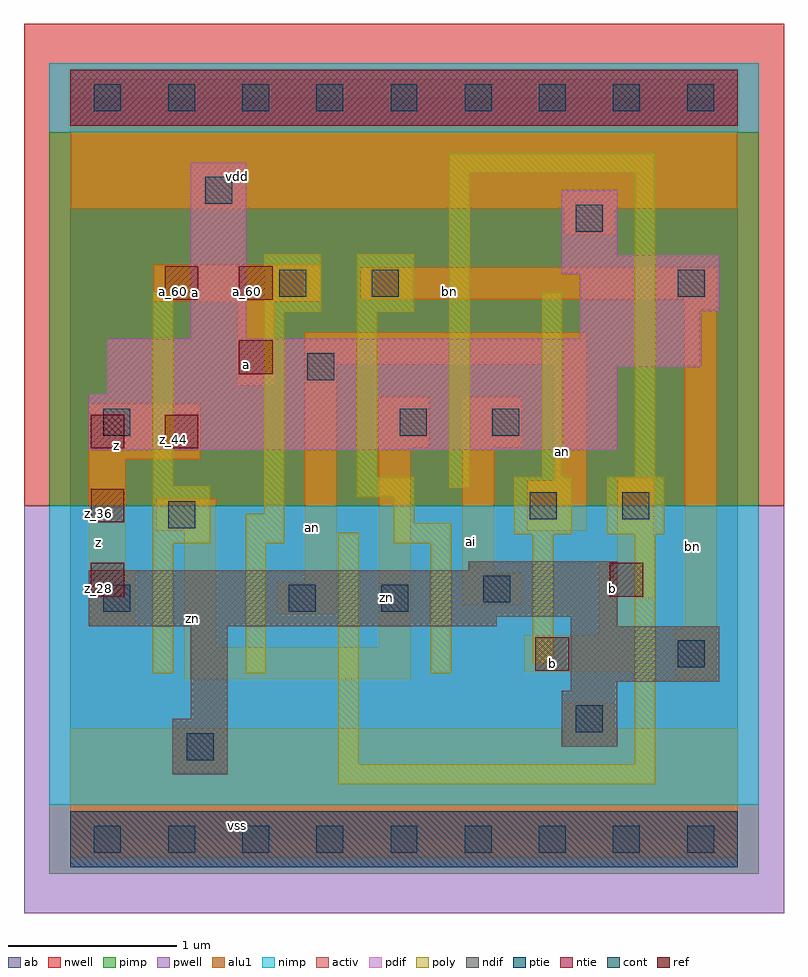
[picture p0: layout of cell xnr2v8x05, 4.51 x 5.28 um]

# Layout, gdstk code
import gdstk
lib = gdstk.Library(unit=1e-6, precision=2.5e-09)
def R(c, l, rs):  # rectangles x0, y0, x1, y1
    for r in rs: c.add(gdstk.rectangle(r[:2], r[2:], *l))
def A(c, l, x, y, w, h, nx, ny, dx, dy):  # array of equal rectangles
    R(c, l, [(x+i*dx, y+j*dy, x+i*dx+w, y+j*dy+h) for i in range(nx) for j in range(ny)])
ndif = (3, 0)
pdif = (4, 0)
ntie = (5, 0)
ptie = (6, 0)
ref = (24, 0)
cont = (25, 0)
pwell = (41, 0)
nwell = (42, 0)
activ = (43, 0)
pimp = (44, 0)
nimp = (45, 0)
poly = (46, 0)
alu1 = (49, 0)
ab = (63, 0)

xnr2v8x05 = lib.new_cell('xnr2v8x05')
R(xnr2v8x05, ndif, [(0.605,0.385,0.935,0.715), (2.915,0.55,3.245,0.88), (0.715,0.715,0.935,1.265), (2.97,0.88,3.245,0.935), (2.97,0.935,3.85,1.265), (0.11,1.265,2.53,1.32), (2.97,1.265,3.245,1.32), (0.11,1.32,3.245,1.595), (2.365,1.595,3.245,1.65)])
R(xnr2v8x05, pdif, [(0.11,2.31,3.245,2.64), (0.22,2.64,3.245,2.805), (0.22,2.805,3.74,2.97), (0.715,2.97,1.045,4.015), (3.025,2.97,3.74,3.135), (3.025,3.135,3.85,3.355), (2.915,3.355,3.85,3.465), (2.915,3.465,3.245,3.85)])
R(xnr2v8x05, ntie, [(0,4.235,3.96,4.565)])
R(xnr2v8x05, ptie, [(0,-0.165,3.96,0.165)])
A(xnr2v8x05, ref, 0.12, 1.44, 0.2, 0.2, 1, 3, 0, 0.44)
R(xnr2v8x05, ref, [(2.76,1,2.96,1.2), (3.2,1.44,3.4,1.64), (0.56,2.32,0.76,2.52), (1,2.76,1.2,2.96), (0.56,3.2,0.76,3.4), (1,3.2,1.2,3.4)])
A(xnr2v8x05, cont, 0.14, -0.08, 0.16, 0.16, 9, 2, 0.44, 4.4)
R(xnr2v8x05, cont, [(0.69,0.47,0.85,0.63), (3,0.635,3.16,0.795), (3.605,1.02,3.765,1.18), (0.195,1.35,0.355,1.51), (1.295,1.35,1.455,1.51), (1.845,1.35,2.005,1.51), (2.45,1.405,2.61,1.565), (0.58,1.845,0.74,2.005), (2.725,1.9,2.885,2.06), (3.275,1.9,3.435,2.06), (0.195,2.395,0.355,2.555), (1.955,2.395,2.115,2.555), (2.505,2.395,2.665,2.555), (1.405,2.725,1.565,2.885), (1.24,3.22,1.4,3.38), (1.79,3.22,1.95,3.38), (3.605,3.22,3.765,3.38), (3,3.605,3.16,3.765), (0.8,3.77,0.96,3.93)])
R(xnr2v8x05, pwell, [(-0.275,-0.44,4.235,1.98)])
R(xnr2v8x05, nwell, [(-0.275,1.98,4.235,4.84)])
R(xnr2v8x05, activ, [(0,-0.165,3.96,0.165), (0.605,0.385,0.935,0.715), (2.915,0.55,3.245,0.88), (0.715,0.715,0.935,1.265), (2.97,0.88,3.245,0.935), (2.97,0.935,3.85,1.265), (0.11,1.265,2.53,1.32), (2.97,1.265,3.245,1.32), (0.11,1.32,3.245,1.595), (2.365,1.595,3.245,1.65), (0.11,2.31,3.245,2.64), (0.22,2.64,3.245,2.805), (0.22,2.805,3.74,2.97), (0.715,2.97,1.045,4.015), (3.025,2.97,3.74,3.135), (3.025,3.135,3.85,3.355), (2.915,3.355,3.85,3.465), (2.915,3.465,3.245,3.85), (0,4.235,3.96,4.565)])
R(xnr2v8x05, pimp, [(-0.125,-0.205,4.085,0.205), (-0.125,1.98,4.085,4.195)])
R(xnr2v8x05, nimp, [(-0.125,0.205,4.085,1.98), (-0.125,4.195,4.085,4.605)])
R(xnr2v8x05, poly, [(1.59,0.325,3.47,0.445), (1.59,0.445,1.71,1.82), (3.35,0.445,3.47,1.81), (0.49,0.985,0.61,1.755), (1.04,0.985,1.16,1.755), (2.14,0.985,2.26,1.755), (2.745,1.04,2.865,1.81), (0.49,1.755,0.83,2.095), (1.04,1.755,1.27,1.93), (1.92,1.755,2.26,1.875), (2.635,1.81,2.975,2.15), (3.185,1.81,3.525,2.15), (1.92,1.875,2.04,2.03), (1.15,1.93,1.27,3.13), (1.7,2.03,2.04,2.15), (2.25,2.085,2.37,3.955), (0.49,2.095,0.61,3.25), (1.7,2.15,1.82,3.13), (2.8,2.15,2.92,3.25), (3.35,2.15,3.47,3.955), (1.15,3.13,1.49,3.47), (1.7,3.13,2.04,3.47), (2.25,3.955,3.47,4.075)])
R(xnr2v8x05, alu1, [(0,-0.11,3.96,0.66), (2.93,0.66,3.23,0.81), (0.675,0.95,2.02,1.14), (3.59,0.95,3.835,1.25), (2.695,0.99,3.355,1.21), (0.675,1.14,0.865,1.83), (1.83,1.14,2.02,2.325), (3.135,1.21,3.355,1.43), (3.645,1.25,3.835,3.205), (0.11,1.265,0.385,1.595), (1.225,1.335,1.58,1.525), (2.325,1.39,2.68,1.58), (3.135,1.43,3.465,1.65), (1.39,1.525,1.58,2.82), (2.325,1.58,2.515,2.325), (0.11,1.595,0.33,2.255), (3.245,1.65,3.465,2.145), (0.51,1.83,0.865,2.02), (2.71,1.83,3.065,2.13), (2.875,2.13,3.065,2.82), (0.11,2.255,0.77,2.585), (1.83,2.325,2.13,2.625), (2.325,2.325,2.68,2.625), (0.99,2.695,1.21,3.19), (1.39,2.82,3.065,3.01), (0.495,3.19,1.485,3.41), (1.72,3.205,3.835,3.395), (2.93,3.59,3.23,3.74), (0,3.74,3.96,4.51)])
R(xnr2v8x05, ab, [(0,0,3.96,4.4)])
xnr2v8x05.add(gdstk.Label('vss', (0.99,0.0825), layer=49, texttype=0))
xnr2v8x05.add(gdstk.Label('b', (2.86,1.045), layer=49, texttype=0))
xnr2v8x05.add(gdstk.Label('bn', (3.6925,1.7375), layer=49, texttype=0))
xnr2v8x05.add(gdstk.Label('b', (3.2175,1.485), layer=49, texttype=0))
xnr2v8x05.add(gdstk.Label('an', (2.9225,2.3025), layer=49, texttype=0))
xnr2v8x05.add(gdstk.Label('ai', (2.3725,1.765), layer=49, texttype=0))
xnr2v8x05.add(gdstk.Label('zn', (1.8775,1.435), layer=49, texttype=0))
xnr2v8x05.add(gdstk.Label('an', (1.4375,1.8475), layer=49, texttype=0))
xnr2v8x05.add(gdstk.Label('zn', (0.7225,1.3125), layer=49, texttype=0))
xnr2v8x05.add(gdstk.Label('z', (0.165,1.76), layer=49, texttype=0))
xnr2v8x05.add(gdstk.Label('z', (0.275,2.3375), layer=49, texttype=0))
xnr2v8x05.add(gdstk.Label('a', (1.045,2.8175), layer=49, texttype=0))
xnr2v8x05.add(gdstk.Label('bn', (2.2475,3.2525), layer=49, texttype=0))
xnr2v8x05.add(gdstk.Label('a', (0.7425,3.245), layer=49, texttype=0))
xnr2v8x05.add(gdstk.Label('vdd', (0.99,3.9325), layer=49, texttype=0))
xnr2v8x05.add(gdstk.Label('z_44', (0.17,2.37), layer=24, texttype=0))
xnr2v8x05.add(gdstk.Label('z_36', (0.17,1.93), layer=24, texttype=0))
xnr2v8x05.add(gdstk.Label('z_28', (0.17,1.49), layer=24, texttype=0))
xnr2v8x05.add(gdstk.Label('z_44', (0.61,2.37), layer=24, texttype=0))
xnr2v8x05.add(gdstk.Label('a_60', (0.61,3.25), layer=24, texttype=0))
xnr2v8x05.add(gdstk.Label('a_60', (1.05,3.25), layer=24, texttype=0))
xnr2v8x05.add(gdstk.Label('a_52', (1.05,2.81), layer=24, texttype=0))
xnr2v8x05.add(gdstk.Label('b_28', (3.25,1.49), layer=24, texttype=0))
xnr2v8x05.add(gdstk.Label('b_20', (2.81,1.05), layer=24, texttype=0))

lib.write_gds('xnr2v8x05.gds')
